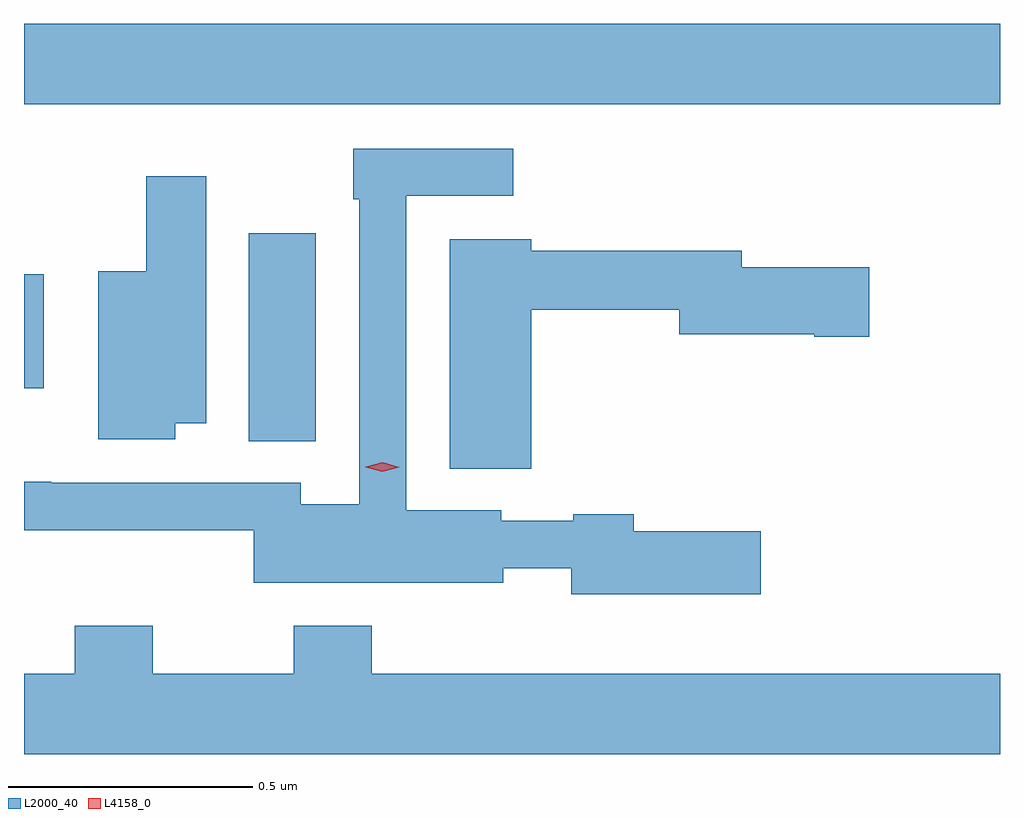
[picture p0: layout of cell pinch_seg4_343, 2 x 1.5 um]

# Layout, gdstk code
import gdstk
lib = gdstk.Library(unit=1e-6, precision=1e-09)
def R(c, l, rs):  # rectangles x0, y0, x1, y1
    for r in rs: c.add(gdstk.rectangle(r[:2], r[2:], *l))
def P(c, l, *ps):  # polygons
    for p in ps: c.add(gdstk.Polygon(p, *l))
L2000_40 = (2000, 40)
L4158_0 = (4158, 0)

pinch_seg4_343 = lib.new_cell('pinch_seg4_343')
R(pinch_seg4_343, L2000_40, [(961.664,806.785,961.801,807.211), (961.203,806.894,961.243,807.127), (961.203,807.476,963.203,807.64)])
P(pinch_seg4_343, L2000_40, [(962.713,806.601),(962.452,806.601),(962.452,806.635),(962.328,806.635),(962.328,806.622),(962.181,806.622),(962.181,806.644),(961.986,806.644),(961.986,807.288),(962.206,807.288),(962.206,807.384),(961.878,807.384),(961.878,807.281),(961.89,807.281),(961.89,806.656),(961.77,806.656),(961.77,806.7),(961.259,806.7),(961.259,806.702),(961.203,806.702),(961.203,806.603),(961.674,806.603),(961.674,806.495),(962.185,806.495),(962.185,806.525),(962.324,806.525),(962.324,806.471),(962.713,806.471)],
  [(961.513,806.822),(961.576,806.822),(961.576,807.328),(961.454,807.328),(961.454,807.133),(961.355,807.133),(961.355,806.789),(961.513,806.789)],
  [(962.242,807.054),(962.546,807.054),(962.546,807.004),(962.822,807.004),(962.822,806.999),(962.935,806.999),(962.935,807.141),(962.674,807.141),(962.674,807.175),(962.242,807.175),(962.242,807.199),(962.075,807.199),(962.075,806.729),(962.242,806.729)],
  [(963.203,806.308),(961.916,806.308),(961.916,806.407),(961.756,806.407),(961.756,806.308),(961.467,806.308),(961.467,806.407),(961.307,806.407),(961.307,806.308),(961.203,806.308),(961.203,806.144),(963.203,806.144)])
P(pinch_seg4_343, L4158_0, [(961.937,806.722),(961.903,806.732),(961.902,806.733),(961.903,806.733),(961.938,806.742),(961.972,806.732),(961.973,806.732),(961.972,806.732)])

lib.write_gds('pinch_seg4_343.gds')
